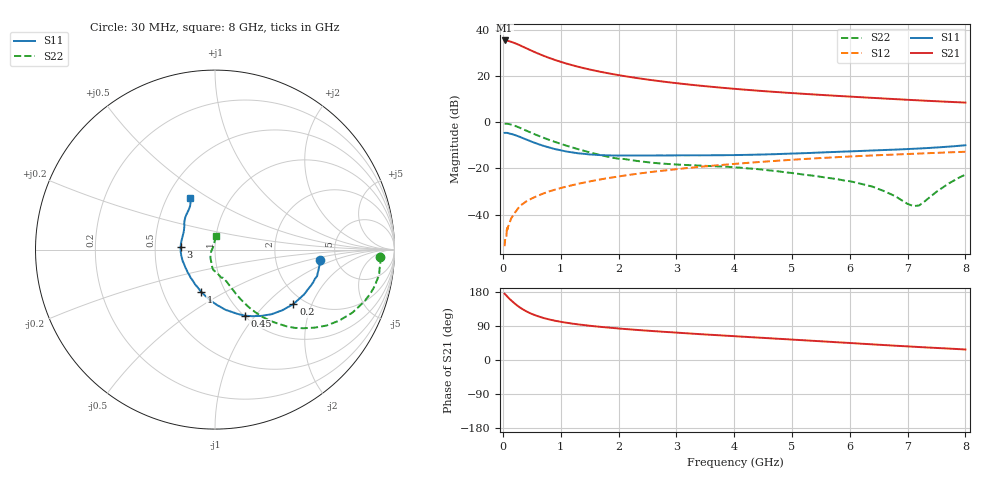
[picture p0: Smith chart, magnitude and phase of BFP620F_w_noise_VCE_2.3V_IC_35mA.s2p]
! Infineon Technologies  Discrete & RF Semiconductors
! BFP620F
! VCE =  2.3 V,  IC =  35 mA
! Common Emitter S-Parameters:  Dec 2014
# GHz  S  MA  R  50
!  f  S11  S21  S12  S22
! GHz  MAG  ANG  MAG  ANG  MAG  ANG  MAG  ANG
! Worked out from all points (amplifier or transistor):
!   95 points, 30 MHz to 8 GHz, reference 50 ohm
!   highest |S21| = 35.3 dB at 30 MHz (marker M1)
!   |S21| within 3 dB of that: start of sweep to 372.7 MHz
!   unconditionally stable (mu >= 1): 2.218 GHz to end of sweep
!   at 300 MHz: K = 0.46, MSG = 34.6 dB, |S12| = -36.1 dB
!   at 3.3 GHz: K = 1.03, MAG = 16.7 dB, |S12| = -19.6 dB
!   at 8 GHz: K = 1.06, MAG = 9.2 dB, |S12| = -12.8 dB
!   lowest NFmin = 1.25 dB at 450 MHz
!   S11 on the Smith chart (normalised r, x): 30 MHz: 3.73, -0.65; 200 MHz: 1.75, -1.48; 450 MHz: 1.01, -0.88; 1 GHz: 0.77, -0.39; 3 GHz: 0.68, +0.02; 8 GHz: 0.65, +0.42
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0.03  0.5878 -5.6  58.28 174.9  0.0021 47.4  0.9213 -2.4
0.07  0.587 -12.9  57.59 168.5  0.0055 70.6  0.9248 -8.4
0.12  0.5669 -21.8  55.58 160.6  0.007 74.2  0.9021 -15.2
0.15  0.5557 -26.7  54.18 156.4  0.0086 72.4  0.8823 -19.0
0.2  0.5319 -34.8  51.34 149.7  0.0107 71.6  0.8419 -24.7
0.25  0.505 -42.0  48.46 143.5  0.0131 71.2  0.7968 -29.8
0.3  0.4789 -48.7  45.48 138.1  0.0157 70.8  0.7513 -34.3
0.4  0.4247 -60.9  39.81 128.9  0.0193 67.8  0.6611 -41.5
0.45  0.4029 -65.9  37.24 125.1  0.0209 67.7  0.6223 -44.5
0.5  0.3786 -70.9  34.87 121.6  0.0225 67.2  0.5847 -47.0
0.6  0.3404 -80.1  30.73 115.8  0.0257 66.8  0.5177 -51.2
0.7  0.3093 -87.8  27.33 111.0  0.0288 66.6  0.4627 -54.6
0.8  0.2844 -95.3  24.48 107.1  0.032 66.8  0.4153 -57.2
1  0.2474 -108.3  20.14 100.8  0.0378 66.5  0.3415 -61.1
1.4  0.2077 -130.6  14.71 92.2  0.0495 66.4  0.2418 -66.2
2  0.1901 -156.6  10.4 83.2  0.0672 64.8  0.1623 -74.3
2.7  0.1917 -176.9  7.738 75.3  0.088 61.7  0.1293 -85.6
3  0.192 176.2  6.978 72.2  0.0966 60.1  0.1221 -89.6
4.1  0.1959 156.1  5.143 61.9  0.1284 54.2  0.1042 -97.6
5.4  0.2191 141.3  3.958 50.3  0.1653 46.0  0.0691 -108.5
6.7  0.2534 128.5  3.194 38.5  0.1984 37.1  0.0283 -144.3
8  0.3177 115.6  2.652 27.7  0.2299 28.5  0.0738 87.3
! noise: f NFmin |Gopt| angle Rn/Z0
0.45  1.25  0.11  -173  0.16
0.9  1.28  0.11  -172  0.13
1.5  1.29  0.16  -150  0.12
1.8  1.3  0.16  -150  0.13
1.9  1.3  0.16  -149  0.13
2.4  1.32  0.17  215  0.15
3.5  1.38  0.18  220  0.18
5.5  1.52  0.24  245  0.15
6  1.56  0.25  260  0.17
